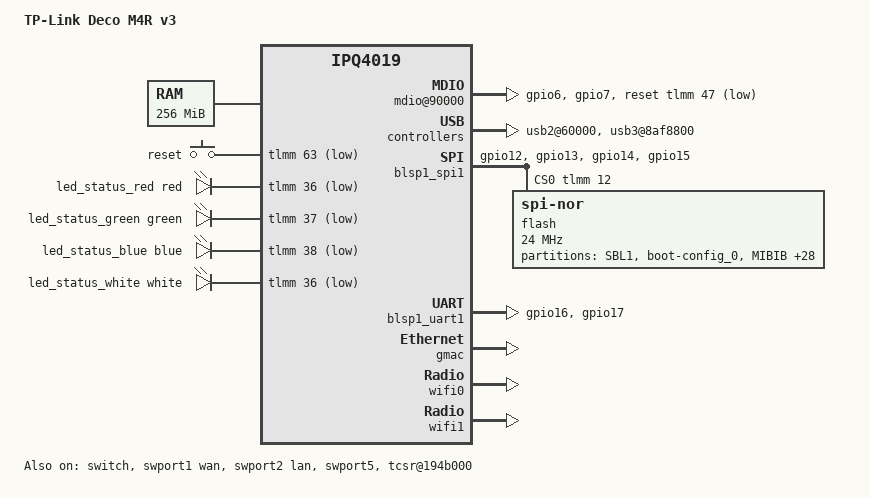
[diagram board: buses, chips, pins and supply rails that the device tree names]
// SPDX-License-Identifier: GPL-2.0+ OR MIT

#include "qcom-ipq4019.dtsi"
#include <dt-bindings/gpio/gpio.h>
#include <dt-bindings/input/input.h>
#include <dt-bindings/leds/common.h>
#include <dt-bindings/soc/qcom,tcsr.h>

/ {
	model = "TP-Link Deco M4R v3";
	compatible = "tp-link,deco-m4r-v3", "qcom,ipq4019";

	chosen {
		bootargs-append = " clk_ignore_unused";
	};

	aliases {
		led-boot = &led_status_blue;
		led-failsafe = &led_status_red;
		led-running = &led_status_white;
		led-upgrade = &led_status_blue;
		serial0 = &blsp1_uart1;
		ethernet0 = "/soc/edma@c080000/gmac0";
		ethernet1 = "/soc/edma@c080000/gmac1";
	};

	memory {
		device_type = "memory";
		reg = <0x80000000 0x10000000>; /* 256MB */
	};

	soc {
		rng@22000 {
			status = "okay";
		};

		mdio@90000 {
			status = "okay";
			pinctrl-0 = <&mdio_pins>;
			pinctrl-names = "default";
			reset-gpios = <&tlmm 47 GPIO_ACTIVE_LOW>;
			reset-delay-us = <1000>;
		};

		ess-psgmii@98000 {
			status = "okay";
		};

		tcsr@1949000 {
			compatible = "qcom,tcsr";
			reg = <0x1949000 0x100>;
			qcom,wifi_glb_cfg = <TCSR_WIFI_GLB_CFG>;
		};

		tcsr@194b000 {
			compatible = "qcom,tcsr";
			reg = <0x194b000 0x100>;
			qcom,usb-hsphy-mode-select = <TCSR_USB_HSPHY_HOST_MODE>;
			status = "okay";
		};

		ess_tcsr@1953000 {
			compatible = "qcom,tcsr";
			reg = <0x1953000 0x1000>;
			qcom,ess-interface-select = <TCSR_ESS_PSGMII>;
		};

		tcsr@1957000 {
			compatible = "qcom,tcsr";
			reg = <0x1957000 0x100>;
			qcom,wifi_noc_memtype_m0_m2 = <TCSR_WIFI_NOC_MEMTYPE_M0_M2>;
		};

		usb2@60000 {
			status = "okay";

			dwc3@6000000 {
				#address-cells = <1>;
				#size-cells = <0>;
			};
		};

		usb3@8af8800 {
			status = "okay";

			dwc3@8a00000 {
				#address-cells = <1>;
				#size-cells = <0>;
			};
		};

		crypto@8e3a000 {
			status = "okay";
		};

		watchdog@b017000 {
			status = "okay";
		};

		ess-switch@c000000 {
			status = "okay";
		};

		edma@c080000 {
			status = "okay";
		};
	};

	keys {
		compatible = "gpio-keys";

		reset {
			label = "reset";
			gpios = <&tlmm 63 GPIO_ACTIVE_LOW>;
			linux,code = <KEY_RESTART>;
		};
	};

	leds {
		compatible = "gpio-leds";

		led_status_red: status_red {
			function = LED_FUNCTION_STATUS;
			color = <LED_COLOR_ID_RED>;
			gpios = <&tlmm 36 GPIO_ACTIVE_LOW>;
		};

		led_status_green: status_green {
			function = LED_FUNCTION_STATUS;
			color = <LED_COLOR_ID_GREEN>;
			gpios = <&tlmm 37 GPIO_ACTIVE_LOW>;
		};

		led_status_blue: status_blue {
			function = LED_FUNCTION_STATUS;
			color = <LED_COLOR_ID_BLUE>;
			gpios = <&tlmm 38 GPIO_ACTIVE_LOW>;
		};

		led_status_white: status_white {
			function = LED_FUNCTION_STATUS;
			color = <LED_COLOR_ID_WHITE>;
			gpios = <&tlmm 36 GPIO_ACTIVE_LOW>, <&tlmm 37 GPIO_ACTIVE_LOW>, <&tlmm 38 GPIO_ACTIVE_LOW>;
		};
	};
};

&tlmm {
	serial_pins: serial_pinmux {
		mux {
			pins = "gpio16", "gpio17";
			function = "blsp_uart0";
			bias-disable;
		};
	};

	spi_0_pins: spi_0_pinmux {
		pin {
			function = "blsp_spi0";
			pins = "gpio12", "gpio13", "gpio14", "gpio15";
			drive-strength = <12>;
			bias-disable;
		};
	};

	mdio_pins: mdio_pinmux {
		mux_1 {
			pins = "gpio6";
			function = "mdio";
			bias-pull-up;
		};
		mux_2 {
			pins = "gpio7";
			function = "mdc";
			bias-pull-up;
		};
	};
};

&blsp_dma {
	status = "okay";
};

&blsp1_spi1 {
	pinctrl-0 = <&spi_0_pins>;
	pinctrl-names = "default";
	status = "okay";
	cs-gpios = <&tlmm 12 GPIO_ACTIVE_HIGH>;

	flash@0 {
		compatible = "jedec,spi-nor";
		reg = <0>;
		spi-max-frequency = <24000000>;

		partitions {
			compatible = "fixed-partitions";
			#address-cells = <1>;
			#size-cells = <1>;

			partition@0 {
				label = "SBL1";
				reg = <0x000000 0x030000>;
				read-only;
			};

			partition@30000 {
				label = "boot-config_0";
				reg = <0x030000 0x010000>;
				read-only;
			};

			partition@40000 {
				label = "MIBIB";
				reg = <0x040000 0x010000>;
				read-only;
			};

			partition@50000 {
				label = "boot-config_1";
				reg = <0x050000 0x010000>;
				read-only;
			};

			partition@60000 {
				label = "QSEE";
				reg = <0x060000 0x060000>;
				read-only;
			};

			partition@c0000 {
				label = "CDT";
				reg = <0x0c0000 0x010000>;
				read-only;
			};

			partition@d0000 {
				label = "DDRPARAMS";
				reg = <0x0d0000 0x010000>;
				read-only;
			};

			partition@e0000 {
				label = "uboot-env";
				reg = <0x0e0000 0x010000>;
			};

			partition@f0000 {
				label = "fs-uboot@0";
				reg = <0x0f0000 0x080000>;
				read-only;
			};

			art: partition@170000 {
				label = "radio";
				reg = <0x170000 0x010000>;
				read-only;
			};

			partition@180000 {
				label = "default-mac";
				reg = <0x180000 0x001000>;
				read-only;
			};

			partition@182000 {
				label = "device-id";
				reg = <0x182000 0x001000>;
				read-only;
			};

			partition@183000 {
				label = "product-info";
				reg = <0x183000 0x005000>;
				read-only;
			};

			partition@190000 {
				label = "support-list";
				reg = <0x190000 0x010000>;
				read-only;
			};

			partition@200000 {
				label = "user-config";
				reg = <0x200000 0x010000>;
			};

			partition@210000 {
				label = "device-config";
				reg = <0x210000 0x010000>;
			};

			partition@220000 {
				label = "group-info";
				reg = <0x220000 0x010000>;
			};

			partition@230000 {
				label = "partition-table@0";
				reg = <0x230000 0x002000>;
				read-only;
			};

			partition@240000 {
				label = "os-image@0";
				reg = <0x240000 0x320000>;
			};

			partition@560000 {
				label = "file-system@0";
				reg = <0x560000 0xa00000>;
			};

			partition@f60000 {
				label = "soft-version@0";
				reg = <0xf60000 0x010000>;
			};

			partition@f70000 {
				label = "profile@0";
				reg = <0xf70000 0x010000>;
			};

			partition@f80000 {
				label = "default-config@0";
				reg = <0xf80000 0x010000>;
				read-only;
			};

			partition@f90000 {
				label = "partition-table@1";
				reg = <0xf90000 0x002000>;
				read-only;
			};

			partition@fa0000 {
				label = "fs-uboot@1";
				reg = <0xfa0000 0x080000>;
				read-only;
			};

			partition@1020000 {
				label = "os-image@1";
				reg = <0x1020000 0x320000>;
			};

			partition@1340000 {
				label = "file-system@1";
				reg = <0x1340000 0xc40000>;
			};

			partition@1fc0000 {
				label = "soft-version@1";
				reg = <0x1fc0000 0x010000>;
			};

			partition@1fd0000 {
				label = "profile@1";
				reg = <0x1fd0000 0x010000>;
			};

			partition@1fe0000 {
				label = "default-config@1";
				reg = <0x1fe0000 0x010000>;
				read-only;
			};

			partition@1ff0000 {
				label = "url-sig";
				reg = <0x1ff0000 0x010000>;
				read-only;
			};
		};
	};
};

&blsp1_uart1 {
	pinctrl-0 = <&serial_pins>;
	pinctrl-names = "default";
	status = "okay";
};

&gmac {
	status = "okay";
};

&switch {
	status = "okay";
};

&swport1 {
	status = "okay";
	label = "wan";
};

&swport2 {
	status = "okay";
	label = "lan";
};

&swport3 {
	status = "disabled";
};

&swport4 {
	status = "disabled";
};

&swport5 {
	status = "okay";
};

&wifi0 {
	status = "okay";
	nvmem-cell-names = "pre-calibration", "mac-address";
	nvmem-cells = <&precal_art_1000>, <&macaddr_art_0>;
	qcom,ath10k-calibration-variant = "tplink_deco-m4r-v3";
};

&wifi1 {
	status = "okay";
	nvmem-cell-names = "pre-calibration", "mac-address";
	nvmem-cells = <&precal_art_5000>, <&macaddr_art_0>;
	qcom,ath10k-calibration-variant = "tplink_deco-m4r-v3";
};

&art {
	nvmem-layout {
		compatible = "fixed-layout";
		#address-cells = <1>;
		#size-cells = <1>;

		macaddr_art_0: macaddr@0 {
			compatible = "mac-base";
			reg = <0x0 0x6>;
			#nvmem-cell-cells = <1>;
		};

		precal_art_1000: precal@1000 {
			reg = <0x1000 0x2f20>;
		};

		precal_art_5000: precal@5000 {
			reg = <0x5000 0x2f20>;
		};
	};
};

